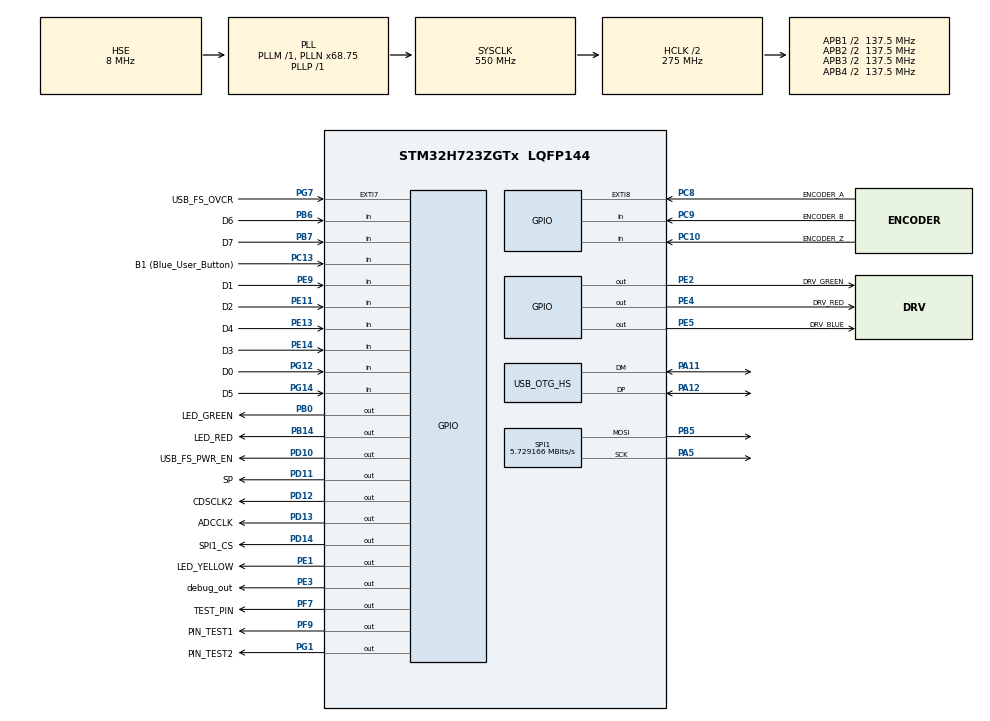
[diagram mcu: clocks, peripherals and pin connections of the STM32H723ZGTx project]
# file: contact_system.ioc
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Mcu.Family=STM32H7
Mcu.Name=STM32H723ZGTx
Mcu.Package=LQFP144
NVIC.EXTI9_5_IRQn=true\:0\:0\:false\:false\:true\:true\:true\:true
NVIC.OTG_HS_IRQn=true\:0\:0\:false\:false\:true\:false\:true\:true
NVIC.PriorityGroup=NVIC_PRIORITYGROUP_4
NVIC.TIM2_IRQn=true\:0\:0\:false\:false\:true\:true\:true\:true
NVIC.TIM3_IRQn=true\:0\:0\:false\:false\:true\:true\:true\:true
NVIC.TIM4_IRQn=true\:0\:0\:false\:false\:true\:true\:true\:true
PA1.GPIO_Label=RMII_REF_CLK
PA1.GPIO_Speed=GPIO_SPEED_FREQ_VERY_HIGH
PA1.Signal=ETH_REF_CLK
PA10.GPIO_Label=USB_FS_ID
PA10.Signal=USB_OTG_HS_ID
PA11.Mode=Device_Only_FS
PA11.Signal=USB_OTG_HS_DM
PA12.Mode=Device_Only_FS
PA12.Signal=USB_OTG_HS_DP
PA13(JTMS/SWDIO).GPIO_Label=SWDIO
PA13(JTMS/SWDIO).Signal=DEBUG_JTMS-SWDIO
PA14(JTCK/SWCLK).GPIO_Label=SWCLK
PA14(JTCK/SWCLK).Signal=DEBUG_JTCK-SWCLK
PA2.GPIO_Label=RMII_MDIO
PA2.GPIO_Speed=GPIO_SPEED_FREQ_VERY_HIGH
PA2.Signal=ETH_MDIO
PA5.Mode=TX_Only_Simplex_Unidirect_Master
PA5.Signal=SPI1_SCK
PA9.GPIO_Label=USB_FS_VBUS
PA9.Signal=USB_OTG_HS_VBUS
PB0.GPIO_Label=LED_GREEN
PB0.Signal=GPIO_Output
PB13.GPIO_Label=RMII_TXD1
PB13.GPIO_Speed=GPIO_SPEED_FREQ_VERY_HIGH
PB13.Signal=ETH_TXD1
PB14.GPIO_Label=LED_RED
PB14.Signal=GPIO_Output
PB3(JTDO/TRACESWO).GPIO_Label=SWO
PB3(JTDO/TRACESWO).Signal=DEBUG_JTDO-SWO
PB5.Mode=TX_Only_Simplex_Unidirect_Master
PB5.Signal=SPI1_MOSI
PB6.GPIO_Label=D6
PB6.GPIO_Mode=GPIO_MODE_INPUT
PB6.Signal=GPIO_Input
PB7.GPIO_Label=D7
PB7.Signal=GPIO_Input
PC1.GPIO_Label=RMII_MDC
PC1.Signal=ETH_MDC
PC10.GPIO_Label=ENCODER_Z
PC10.Signal=GPIO_Input
PC13.GPIO_Label=B1 (Blue_User_Button)
PC13.Signal=GPIO_Input
PC14-OSC32_IN.Signal=RCC_OSC32_IN
PC15-OSC32_OUT.Signal=RCC_OSC32_OUT
PC4.GPIO_Label=RMII_RXD0
PC4.GPIO_Speed=GPIO_SPEED_FREQ_VERY_HIGH
PC4.Signal=ETH_RXD0
PC5.GPIO_Label=RMII_RXD1
PC5.GPIO_Speed=GPIO_SPEED_FREQ_VERY_HIGH
PC5.Signal=ETH_RXD1
PC8.GPIO_Label=ENCODER_A
PC8.GPIO_ModeDefaultEXTI=GPIO_MODE_IT_RISING
PC8.GPIO_PuPd=GPIO_NOPULL
PC8.Signal=GPXTI8
PC9.GPIO_Label=ENCODER_B
PC9.Signal=GPIO_Input
PD10.GPIO_Label=USB_FS_PWR_EN
PD10.Signal=GPIO_Output
PD11.GPIO_Label=SP
PD11.Signal=GPIO_Output
PD12.GPIO_Label=CDSCLK2
PD12.GPIO_Speed=GPIO_SPEED_FREQ_LOW
PD12.Signal=GPIO_Output
PD13.GPIO_Label=ADCCLK
PD13.GPIO_ModeDefaultOutputPP=GPIO_MODE_OUTPUT_PP
PD13.GPIO_PuPd=GPIO_NOPULL
PD13.GPIO_Speed=GPIO_SPEED_FREQ_LOW
PD13.PinState=GPIO_PIN_RESET
PD13.Signal=GPIO_Output
PD14.GPIO_Label=SPI1_CS
PD14.GPIO_Speed=GPIO_SPEED_FREQ_LOW
PD14.PinState=GPIO_PIN_SET
PD14.Signal=GPIO_Output
PD8.GPIO_Label=STLK_VCP_RX
PD8.Signal=USART3_TX
PD9.GPIO_Label=STLK_VCP_TX
PD9.Signal=USART3_RX
PE1.GPIO_Label=LED_YELLOW
PE1.Signal=GPIO_Output
PE11.GPIO_Label=D2
PE11.Signal=GPIO_Input
PE13.GPIO_Label=D4
PE13.Signal=GPIO_Input
PE14.GPIO_Label=D3
PE14.Signal=GPIO_Input
PE2.GPIO_Label=DRV_GREEN
PE2.Signal=GPIO_Output
PE3.GPIO_Label=debug_out
PE3.Signal=GPIO_Output
PE4.GPIO_Label=DRV_RED
PE4.Signal=GPIO_Output
PE5.GPIO_Label=DRV_BLUE
PE5.Signal=GPIO_Output
PE9.GPIO_Label=D1
PE9.GPIO_Mode=GPIO_MODE_INPUT
PE9.GPIO_PuPd=GPIO_NOPULL
PE9.Signal=GPIO_Input
PF7.GPIO_Label=TEST_PIN
PF7.Signal=GPIO_Output
PF9.GPIO_Label=PIN_TEST1
PF9.Signal=GPIO_Output
PG1.GPIO_Label=PIN_TEST2
PG1.PinState=GPIO_PIN_SET
PG1.Signal=GPIO_Output
PG11.GPIO_Label=RMII_TX_EN
PG11.GPIO_Speed=GPIO_SPEED_FREQ_VERY_HIGH
PG11.Signal=ETH_TX_EN
PG12.GPIO_Label=D0
PG12.Signal=GPIO_Input
PG13.GPIO_Label=RMII_TXD0
PG13.GPIO_Speed=GPIO_SPEED_FREQ_VERY_HIGH
PG13.Signal=ETH_TXD0
PG14.GPIO_Label=D5
PG14.Signal=GPIO_Input
PG7.GPIO_Label=USB_FS_OVCR
PG7.Signal=GPXTI7
PH0-OSC_IN.Mode=HSE-External-Oscillator
PH0-OSC_IN.Signal=RCC_OSC_IN
PH1-OSC_OUT.Mode=HSE-External-Oscillator
PH1-OSC_OUT.Signal=RCC_OSC_OUT
ProjectManager.HeapSize=0x200
ProjectManager.StackSize=0x400
ProjectManager.TargetToolchain=STM32CubeIDE
RCC.ADCFreq_Value=76000000
RCC.APB1Freq_Value=137500000
RCC.APB2Freq_Value=137500000
RCC.APB3Freq_Value=137500000
RCC.APB4Freq_Value=137500000
RCC.CortexFreq_Value=550000000
RCC.D1PPRE=RCC_APB3_DIV2
RCC.D2PPRE1=RCC_APB1_DIV2
RCC.D2PPRE2=RCC_APB2_DIV2
RCC.D3PPRE=RCC_APB4_DIV2
RCC.DIVM1=1
RCC.DIVM2=1
RCC.DIVN1=68
RCC.DIVN2=19
RCC.DIVP1=1
RCC.DIVQ1=3
RCC.HCLKFreq_Value=275000000
RCC.HPRE=RCC_HCLK_DIV2
RCC.HSE_VALUE=8000000
RCC.PLL2FRACN=0
RCC.PLL3FRACN=0
RCC.PLLFRACN=6144
RCC.PLLSourceVirtual=RCC_PLLSOURCE_HSE
RCC.RCC_TIM_PRescaler_Selection=RCC_TIMPRES_DESACTIVATED
RCC.SYSCLKFreq_VALUE=550000000
RCC.SYSCLKSource=RCC_SYSCLKSOURCE_PLLCLK
RCC.USBCLockSelection=RCC_USBCLKSOURCE_HSI48
RCC.USBFreq_Value=48000000
SPI1.BaudRatePrescaler=SPI_BAUDRATEPRESCALER_32
SPI1.CalculateBaudRate=5.729166 MBits/s
SPI1.DataSize=SPI_DATASIZE_16BIT
SPI1.Direction=SPI_DIRECTION_2LINES_TXONLY
SPI1.Mode=SPI_MODE_MASTER
SPI1.NSSPMode=SPI_NSS_PULSE_ENABLE
SPI1.TIMode=SPI_TIMODE_DISABLE
SPI1.VirtualType=VM_MASTER
TIM2.AutoReloadPreload=TIM_AUTORELOAD_PRELOAD_DISABLE
TIM2.CounterMode=TIM_COUNTERMODE_UP
TIM2.Period=1
TIM2.Prescaler=1375
TIM3.Period=1
TIM3.Prescaler=274
TIM4.AutoReloadPreload=TIM_AUTORELOAD_PRELOAD_ENABLE
TIM4.Period=50000
TIM4.Prescaler=1375
USB_DEVICE.CLASS_NAME_HS=CDC
USB_DEVICE.VirtualMode=Cdc
USB_DEVICE.VirtualModeHS=Cdc_HS
USB_OTG_HS.VirtualMode-Device_Only_FS=Device_Only_FS
VP_TIM2_VS_ClockSourceINT.Mode=Internal
VP_TIM3_VS_ClockSourceINT.Mode=Internal
VP_TIM4_VS_ClockSourceINT.Mode=Internal
VP_USB_DEVICE_VS_USB_DEVICE_CDC_HS.Mode=CDC_HS
board=NUCLEO-H723ZG

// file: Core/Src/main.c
/* USER CODE BEGIN Header */
/**
 ******************************************************************************
 * @file           : main.c
 * @brief          : Main program body
 ******************************************************************************
 * @attention
 *
 * Copyright (c) 2022 STMicroelectronics.
 * All rights reserved.
 *
 * This software is licensed under terms that can be found in the LICENSE file
 * in the root directory of this software component.
 * If no LICENSE file comes with this software, it is provided AS-IS.
 *
 ******************************************************************************
 */

// Authors: Christian Valles, Armando Rivero, Sebastiano Marinelli
// Date of modification: 2/09/2022
// Version 1.5

/* USER CODE END Header */
#include "main.h"
#include "usb_device.h"

/* USER CODE BEGIN Includes */
#include <string.h>
#include <stdlib.h>
#include <stdio.h>
/* USER CODE END Includes */

/* USER CODE BEGIN PD */
int codeVer = 1;
int codeVerTest = 5;

int toggleLEDonBoard = 1;
int toggleLEDonBoard_G = 1;

#define timer_freq 100000 // in [Hz]
#define VCP_BUFF_SIZE 1000
#define VCP_BUFF_SIZE_RX 1000

#define EFFECTIVE_PIXELS 1728
#define TOTAL_PIXELS EFFECTIVE_PIXELS *3 //5184
#define INATIVE_PIXELS 38+1+1  // 38 are inactive 2 are found during measurements

// MACRO DEFINITIONS FOR CIS
#define MACRO_CIS_SET_CPCLK {GPIOD->BSRR = GPIO_PIN_12; }
#define MACRO_CIS_CLR_CPCLK {GPIOD->BSRR = (uint32_t)GPIO_PIN_12 << 16U; }

#define MACRO_CIS_SET_SP {GPIOD->BSRR = GPIO_PIN_11; }
#define MACRO_CIS_CLR_SP {GPIOD->BSRR = (uint32_t)GPIO_PIN_11 << 16U; }

// MACRO DEFINITIONS FOR AFE AD9826
#define MACRO_AD9826_SET_SCLK {GPIOD->BSRR = GPIO_PIN_14; }
#define MACRO_AD9826_CLR_SCLK {GPIOD->BSRR = (uint32_t)GPIO_PIN_14 << 16U; }

// ON BOARS LEDS
#define MACRO_LED_YELLOW_SET {GPIOE->BSRR = GPIO_PIN_1; }
#define MACRO_LED_YELLOW_CLR {GPIOE->BSRR = (uint32_t)GPIO_PIN_1 << 16U; }
#define MACRO_LED_GREEN_SET {GPIOB->BSRR = GPIO_PIN_0; }
#define MACRO_LED_GREEN_CLR {GPIOB->BSRR = (uint32_t)GPIO_PIN_0 << 16U; }
#define MACRO_LED_RED_SET {GPIOB->BSRR = GPIO_PIN_14; }
#define MACRO_LED_RED_CLR {GPIOB->BSRR = (uint32_t)GPIO_PIN_14 << 16U; }

#define MACRO_CIS_LED_RED_SET {GPIOE->BSRR = GPIO_PIN_4; }
#define MACRO_CIS_LED_RED_CLR {GPIOE->BSRR = (uint32_t)GPIO_PIN_4 << 16U; }
#define MACRO_CIS_LED_GREEN_SET {GPIOE->BSRR = GPIO_PIN_2; }
#define MACRO_CIS_LED_GREEN_CLR {GPIOE->BSRR = (uint32_t)GPIO_PIN_2 << 16U; }
#define MACRO_CIS_LED_BLUE_SET {GPIOE->BSRR = GPIO_PIN_5; }
#define MACRO_CIS_LED_BLUE_CLR {GPIOE->BSRR = (uint32_t)GPIO_PIN_5 << 16U; }

// AD9826 REGISTERS DEFINITION
#define R_CFG_ADDR       0x0000
#define R_MUXCFG_ADDR    0x1000
#define R_RPGA_ADDR      0x2000
#define R_GPGA_ADDR      0x3000
#define R_BPGA_ADDR      0x4000
#define R_ROFFSET_ADDR   0x5000
#define R_GOFFSET_ADDR   0x6000
#define R_BOFFSET_ADDR   0x7000

// register configuration (Addr: 0x0000)
#define R_CFG_INPUTRNG 0x0080
#define R_CFG_VREF     0x0040
#define R_CFG_3CHMODE  0x0020
#define R_CFG_CDS_ON   0x0010
#define R_CFG_CLAMP    0x0008
#define R_CFG_PWRDWN   0x0004
#define R_CFG_OUTMODE  0x0001

// MUX configuration (Addr: 0x0001)
#define R_MUXCFG_RGBBGR 0x008
#define R_MUXCFG_RED    0x004
#define R_MUXCFG_GREEN  0x002
#define R_MUXCFG_BLUE   0x001

//const unsigned int config_reg =  0b0000 0000 1110 1000;
const unsigned int reg_AD9826_config = R_CFG_ADDR | R_CFG_INPUTRNG | R_CFG_VREF | R_CFG_3CHMODE | R_CFG_CLAMP; //0b0000 0000 1110 1000

//const unsigned int MUX_config_reg = 0b0001 0000 1111 0000;
const unsigned int reg_AD9826_MUXconfig = R_MUXCFG_ADDR | R_MUXCFG_RGBBGR | R_MUXCFG_RED | R_MUXCFG_GREEN | R_MUXCFG_BLUE;

unsigned int reg_AD9826_redPGA   = R_RPGA_ADDR;
unsigned int reg_AD9826_greenPGA = R_GPGA_ADDR;
unsigned int reg_AD9826_bluePGA  = R_BPGA_ADDR;

unsigned int reg_AD9826_redOffset   = R_ROFFSET_ADDR;
unsigned int reg_AD9826_greenOffset = R_GOFFSET_ADDR;
unsigned int reg_AD9826_blueOffset  = R_BOFFSET_ADDR;

/* USER CODE END PD */

SPI_HandleTypeDef hspi1;

TIM_HandleTypeDef htim2;
TIM_HandleTypeDef htim3;
TIM_HandleTypeDef htim4;

/* USER CODE BEGIN PV */

extern uint8_t CDC_Transmit_HS(uint8_t* Buf, uint16_t Len);

/* USER CODE END PV */

void SystemClock_Config(void);
static void MX_GPIO_Init(void);
static void MX_SPI1_Init(void);
static void MX_TIM2_Init(void);
static void MX_TIM3_Init(void);
static void MX_TIM4_Init(void);

/* USER CODE BEGIN 0 */
// VCP related variables
uint8_t bufferVCP_Rx[VCP_BUFF_SIZE_RX];
char msgVCP[VCP_BUFF_SIZE];
int msgVCP_len = 0;
char* token;
const char *tokenSeparator = ".\n\r";
char strCMD_ver[] = "ver";
char strCMD_1[] = "SingleSample";
char strCMD_2[] = "cfg";
char strCMD_2_1[] = "exp";
char strCMD_3[] = "RPGA";
char strCMD_4[] = "GPGA";
char strCMD_5[] = "BPGA";
char strCMD_6[] = "ROFST";
char strCMD_7[] = "GOFST";
char strCMD_8[] = "BOFST";

char strCMD_9[] = "LEDRED";
char strCMD_10[] = "LEDGREEN";
char strCMD_11[] = "LEDBLUE";

char strCMD_12[] = "LR";
char strCMD_13[] = "LG";
char strCMD_14[] = "LB";

unsigned int ledExpDuration_R = 0;
unsigned int ledExpDuration_G = 0;
unsigned int ledExpDuration_B = 0;

char enableSampleTimerFlag = 0;
short int flag_en_CIS_LED = 0;

unsigned char send_data_main = 0;

unsigned int encoder_tick = 0, pixel_values[5184] = {0};
//unsigned int LEDR_time, LEDG_time, LEDB_time, exposureTime_phase, LEDR_phase, LEDG_phase, LEDB_phase, LEDR_residual, LEDG_residual, LEDB_residual;
unsigned char get_image = 0;

float encoder_resolution, encoder_distance;

uint32_t odr;

//-Counters for the clock generation
unsigned int CP_cnt = 0;
unsigned int Tim2_tick = 0;
unsigned int tick_SP = 0;
unsigned int Led_cnt = 0;
unsigned int Tim3_tick = 0;
unsigned int cnt_red = 0;
unsigned int cnt_green = 0;
unsigned int cnt_blue = 0;

// EXPOSURE TIME
int exposureVal = 120; // in microseconds
unsigned int tokenVal = 0;
int expDuration_us = 0 ;

int i = 0;
int alternateByte = 0;
int reg_High[TOTAL_PIXELS];
int reg_Low[TOTAL_PIXELS];
int reg_High_R[TOTAL_PIXELS];
int reg_Low_R[TOTAL_PIXELS];
int ADC_B0 = 0;
int ADC_B1 = 0;
int ADC_B2 = 0;
int ADC_B3 = 0;
int ADC_B4 = 0;
int ADC_B5 = 0;
int ADC_B6 = 0;
int ADC_B7 = 0;

//-Flags
//short int flag_ExpAndRead = 1;

/* USER CODE END 0 */

int main(void)
{
  /* USER CODE BEGIN 1 */

	expDuration_us = 6*(int)(exposureVal/60);

	uint8_t singlePx_value[TOTAL_PIXELS*2]; //*2 since the USB 8 bit at a time
	unsigned int organizeDataToSend = 0;
	int idxUSB;
	int idx;

	//  unsigned int exposure_time;
	//
	//  // AD9826 instructions - Serial communication (SPI)
	////  const unsigned int config_reg =  0b0000000011101000;
	//  //const unsigned int MUX_config_reg = 0b000100001110000; // original missing one bit
	////  const unsigned int MUX_config_reg = 0b0001000011110000;
	//
	//  unsigned int red_PGA_reg, green_PGA_reg, blue_PGA_reg, red_offset_reg, green_offset_reg, blue_offset_reg;
	//  unsigned int offset_red, offset_green, offset_blue;
	//  unsigned char gain_red, gain_green, gain_blue;
	//
	//

	//  /* Data settings */
	//  /***********************************************************************************************************/
	//
	//  encoder_resolution = 0.1;   // in [um]
	//  encoder_distance = 0.5; // in [um] -> (0.5 [um] = 5 tick)
	//
	//  // Timing - Integration time of the CIS
	//  // (1) Resolution of 10 [us] [it depends on the timer frequency (1/timer_freq)]
	//  // (2) Maximum error of 50 [us] [it depends on the time difference respect to the rising edge of the CDSCLK2 (CP) signal]
	//  exposure_time = 1000;   // in [us]
	//
	//  // Timing - LED duration
	//  // (1) Resolution of 10 [us] [it depends on the timer frequency (1/timer_freq)]
	//  LEDR_time = 0;  // in [us]
	//  LEDG_time = 0;  // in [us]
	//  LEDB_time = 0;  // in [us]
	//
	//  // Input gain - From 0 (gain = 1) to 63 (gain = 6)
	//  gain_red = 0;
	//  gain_green = 0;
	//  gain_blue = 0;
	//
	//  // Input offset - From 0 (0 [mV]) to 255 (+300 [mV]) or from 256 (0 [mV]) to 511 (-300 [mV])
	//  offset_red = 0;
	//  offset_green = 0;
	//  offset_blue = 0;
	//
	//  /***********************************************************************************************************/
	//
	//  // ADC gain
	//  red_PGA_reg = 0b0010000000000000 | gain_red;
	//  green_PGA_reg = 0b0011000000000000 | gain_green;
	//  blue_PGA_reg = 0b0100000000000000 | gain_blue;
	//
	//  // ADC offset
	//  red_offset_reg = 0b0101000000000000 | offset_red;
	//  green_offset_reg = 0b0110000000000000 | offset_green;
	//  blue_offset_reg = 0b0111000000000000 | offset_blue;
	//
	//  // Number of multiplexing phases
	//  exposureTime_phase = (unsigned int)(((exposure_time / 1000000.0) * timer_freq) / 6.0);
	//  LEDR_phase = (unsigned int)(((LEDR_time / 1000000.0) * timer_freq) / 6.0);
	//  LEDG_phase = (unsigned int)(((LEDG_time / 1000000.0) * timer_freq) / 6.0);
	//  LEDB_phase = (unsigned int)(((LEDB_time / 1000000.0) * timer_freq) / 6.0);
	//
	//  // Number of residual ticks
	//  LEDR_residual = (unsigned int)((LEDR_time / 1000000.0) * timer_freq) % 6 + 1;
	//  LEDG_residual = (unsigned int)((LEDG_time / 1000000.0) * timer_freq) % 6 + 1;
	//  LEDB_residual = (unsigned int)((LEDB_time / 1000000.0) * timer_freq) % 6 + 1;

  /* USER CODE END 1 */

  /* MCU Configuration--------------------------------------------------------*/

  /* Reset of all peripherals, Initializes the Flash interface and the Systick. */
  HAL_Init();

  /* Configure the system clock */
  SystemClock_Config();

  /* Initialize all configured peripherals */
  MX_GPIO_Init();
  MX_SPI1_Init();
  MX_TIM2_Init();
  MX_USB_DEVICE_Init();
  MX_TIM3_Init();
  MX_TIM4_Init();
  /* USER CODE BEGIN 2 */

	/* Configuring AD9826 through SPI*/
	MACRO_AD9826_CLR_SCLK
	HAL_SPI_Transmit(&hspi1,(uint8_t *)&reg_AD9826_config, 1, HAL_MAX_DELAY);
	MACRO_AD9826_SET_SCLK

	MACRO_AD9826_CLR_SCLK
	HAL_SPI_Transmit(&hspi1, (uint8_t *)&reg_AD9826_MUXconfig, 1, HAL_MAX_DELAY);
	MACRO_AD9826_SET_SCLK

	MACRO_AD9826_CLR_SCLK
	HAL_SPI_Transmit(&hspi1, (uint8_t *)&reg_AD9826_redPGA, 1, HAL_MAX_DELAY);
	MACRO_AD9826_SET_SCLK

	MACRO_AD9826_CLR_SCLK
	HAL_SPI_Transmit(&hspi1, (uint8_t *)&reg_AD9826_greenPGA, 1, HAL_MAX_DELAY);
	MACRO_AD9826_SET_SCLK

	MACRO_AD9826_CLR_SCLK
	HAL_SPI_Transmit(&hspi1, (uint8_t *)&reg_AD9826_bluePGA, 1, HAL_MAX_DELAY);
	MACRO_AD9826_SET_SCLK

	MACRO_AD9826_CLR_SCLK
	HAL_SPI_Transmit(&hspi1, (uint8_t *)&reg_AD9826_redOffset, 1, HAL_MAX_DELAY);
	MACRO_AD9826_SET_SCLK

	MACRO_AD9826_CLR_SCLK
	HAL_SPI_Transmit(&hspi1, (uint8_t *)&reg_AD9826_greenOffset, 1, HAL_MAX_DELAY);
	MACRO_AD9826_SET_SCLK

	MACRO_AD9826_CLR_SCLK
	HAL_SPI_Transmit(&hspi1, (uint8_t *)&reg_AD9826_blueOffset, 1, HAL_MAX_DELAY);
	MACRO_AD9826_SET_SCLK

	//HAL_TIM_Base_Start_IT(&htim2);    // Start timer 2
	HAL_TIM_Base_Start_IT(&htim4);	 	// Start timer 4
  /* USER CODE END 2 */

  /* Infinite loop */
  /* USER CODE BEGIN WHILE */

	while (1)
	{
		// tokenize command recevied in CDC_Receive_FS(...) (file: usbd_cdc_ig.c)
		token = strtok((char*)bufferVCP_Rx,tokenSeparator);
		if (token != NULL)
		{
			if(strcmp(token,strCMD_1) == 0)
			{
				memset (bufferVCP_Rx, '\0', 64);  // clear the VCP buffer always after receiving

				enableSampleTimerFlag = 1;
				HAL_TIM_Base_Start_IT(&htim2);    // Start timer 2
				HAL_TIM_Base_Start_IT(&htim3);	  // Start timer 3

				MACRO_LED_YELLOW_SET
				Led_cnt = 0;
				//        GPIOE->BSRR = GPIO_PIN_1;  // On-board Yellow LED Set to "1"
			}
			if(strcmp(token,strCMD_2) == 0)
			{
				token = strtok(NULL,tokenSeparator);
				if(strcmp(token,strCMD_2_1) == 0)
				{
					token = strtok(NULL,tokenSeparator);

					exposureVal = atoi(token);
					expDuration_us = 6*(int)(exposureVal/15);
				}
				memset (bufferVCP_Rx, '\0', 64);  // clear the VCP buffer always
			}

			if(strcmp(token,strCMD_3) == 0)
			{
				token = strtok(NULL,tokenSeparator);

				tokenVal = atoi(token);
				if(tokenVal <= 63)
				{
					reg_AD9826_redPGA &= 0xFFC0;  // clear only gain bits
					reg_AD9826_redPGA |= tokenVal;

					MACRO_AD9826_CLR_SCLK
					HAL_SPI_Transmit(&hspi1, (uint8_t *)&reg_AD9826_redPGA, 1, HAL_MAX_DELAY);
					MACRO_AD9826_SET_SCLK

					//          msgVCP_len = sprintf(msgVCP, "RPGA %d\n", tokenVal);
					//          CDC_Transmit_HS((uint8_t *)msgVCP, msgVCP_len);
				}
				memset (bufferVCP_Rx, '\0', 64);  // clear the VCP buffer always
			}

			if(strcmp(token,strCMD_4) == 0)
			{
				token = strtok(NULL,tokenSeparator);

				tokenVal = atoi(token);
				if(tokenVal <= 63)
				{
					reg_AD9826_greenPGA &= 0xFFC0;  // clear only gain bits
					reg_AD9826_greenPGA |= tokenVal;

					MACRO_AD9826_CLR_SCLK
					HAL_SPI_Transmit(&hspi1, (uint8_t *)&reg_AD9826_greenPGA, 1, HAL_MAX_DELAY);
					MACRO_AD9826_SET_SCLK
				}
				memset (bufferVCP_Rx, '\0', 64);  // clear the VCP buffer always
			}

			if(strcmp(token,strCMD_5) == 0)
			{
				token = strtok(NULL,tokenSeparator);

				tokenVal = atoi(token);
				if(tokenVal <= 63)
				{
					reg_AD9826_bluePGA &= 0xFFC0;  // clear only gain bits
					reg_AD9826_bluePGA |= tokenVal;

					MACRO_AD9826_CLR_SCLK
					HAL_SPI_Transmit(&hspi1, (uint8_t *)&reg_AD9826_bluePGA, 1, HAL_MAX_DELAY);
					MACRO_AD9826_SET_SCLK
				}
				memset (bufferVCP_Rx, '\0', 64);  // clear the VCP buffer always
			}

			if(strcmp(token,strCMD_6) == 0)
			{
				token = strtok(NULL,tokenSeparator);

				tokenVal = atoi(token);
				if(tokenVal <= 255)
				{
					reg_AD9826_redOffset &= 0xFF00;  // clear only gain bits
					reg_AD9826_redOffset |= tokenVal;

					MACRO_AD9826_CLR_SCLK
					HAL_SPI_Transmit(&hspi1, (uint8_t *)&reg_AD9826_redOffset, 1, HAL_MAX_DELAY);
					MACRO_AD9826_SET_SCLK
				}
				memset (bufferVCP_Rx, '\0', 64);  // clear the VCP buffer always
			}
			if(strcmp(token,strCMD_7) == 0)
			{
				token = strtok(NULL,tokenSeparator);

				tokenVal = atoi(token);
				if(tokenVal <= 255)
				{
					reg_AD9826_greenOffset &= 0xFF00;  // clear only gain bits
					reg_AD9826_greenOffset |= tokenVal;

					MACRO_AD9826_CLR_SCLK
					HAL_SPI_Transmit(&hspi1, (uint8_t *)&reg_AD9826_greenOffset, 1, HAL_MAX_DELAY);
					MACRO_AD9826_SET_SCLK
				}
				memset (bufferVCP_Rx, '\0', 64);  // clear the VCP buffer always
			}
			if(strcmp(token,strCMD_8) == 0)
			{
				token = strtok(NULL,tokenSeparator);

				tokenVal = atoi(token);
				if(tokenVal <= 255)
				{
					reg_AD9826_blueOffset &= 0xFF00;  // clear only gain bits
					reg_AD9826_blueOffset |= tokenVal;

					MACRO_AD9826_CLR_SCLK
					HAL_SPI_Transmit(&hspi1, (uint8_t *)&reg_AD9826_blueOffset, 1, HAL_MAX_DELAY);
					MACRO_AD9826_SET_SCLK
				}
				memset (bufferVCP_Rx, '\0', 64);  // clear the VCP buffer always
			}

			if(strcmp(token,strCMD_9) == 0)
			{
				token = strtok(NULL,tokenSeparator);

				tokenVal = atoi(token);
				if(tokenVal == 1)
				{
					MACRO_CIS_LED_RED_SET
				}
				else
				{
					MACRO_CIS_LED_RED_CLR
				}
				memset (bufferVCP_Rx, '\0', 64);  // clear the VCP buffer always
			}
			if(strcmp(token,strCMD_10) == 0)
			{
				token = strtok(NULL,tokenSeparator);

				tokenVal = atoi(token);
				if(tokenVal == 1)
				{
					MACRO_CIS_LED_GREEN_SET
				}
				else
				{
					MACRO_CIS_LED_GREEN_CLR
				}
				memset (bufferVCP_Rx, '\0', 64);  // clear the VCP buffer always
			}
			if(strcmp(token,strCMD_11) == 0)
			{
				token = strtok(NULL,tokenSeparator);

				tokenVal = atoi(token);
				if(tokenVal == 1)
				{
					MACRO_CIS_LED_BLUE_SET
				}
				else
				{
					MACRO_CIS_LED_BLUE_CLR
				}
				memset (bufferVCP_Rx, '\0', 64);  // clear the VCP buffer always
			}

			// Configure the LED RED duration
			if(strcmp(token,strCMD_12) == 0)
			{
				token = strtok(NULL,tokenSeparator);

				tokenVal = atoi(token);

				if(tokenVal > 0)
				{
					ledExpDuration_R = tokenVal;
					msgVCP_len = sprintf(msgVCP, "CIS LED_R %d\n", ledExpDuration_R);
					CDC_Transmit_HS((uint8_t *)msgVCP, msgVCP_len);
				}
				else
				{
					ledExpDuration_R = 0;
					msgVCP_len = sprintf(msgVCP, "-CIS LED_R %d\n", ledExpDuration_B);
					CDC_Transmit_HS((uint8_t *)msgVCP, msgVCP_len);
				}
				memset (bufferVCP_Rx, '\0', 64);  // clear the VCP buffer always
			}
			// Configure the LED GREEN duration
			if(strcmp(token,strCMD_13) == 0)
			{
				token = strtok(NULL,tokenSeparator);

				tokenVal = atoi(token);
				if(tokenVal > 0)
				{
					ledExpDuration_G = tokenVal;
					msgVCP_len = sprintf(msgVCP, "CIS LED_G %d\n", ledExpDuration_G);
					CDC_Transmit_HS((uint8_t *)msgVCP, msgVCP_len);
				}
				else
				{
					ledExpDuration_G = 0;
					msgVCP_len = sprintf(msgVCP, "-CIS LED_G %d\n", ledExpDuration_B);
					CDC_Transmit_HS((uint8_t *)msgVCP, msgVCP_len);
				}
				memset (bufferVCP_Rx, '\0', 64);  // clear the VCP buffer always
			}
			// Configure the LED BLUE duration
			if(strcmp(token,strCMD_14) == 0)
			{
				token = strtok(NULL,tokenSeparator);

				tokenVal = atoi(token);
				if(tokenVal > 0)
				{
					ledExpDuration_B = tokenVal;
					msgVCP_len = sprintf(msgVCP, "CIS LED_B %d\n", ledExpDuration_B);
					CDC_Transmit_HS((uint8_t *)msgVCP, msgVCP_len);
				}
				else
				{
					ledExpDuration_B = 0;
					msgVCP_len = sprintf(msgVCP, "-CIS LED_B %d\n", ledExpDuration_B);
					CDC_Transmit_HS((uint8_t *)msgVCP, msgVCP_len);
				}
				memset (bufferVCP_Rx, '\0', 64);  // clear the VCP buffer always
			}

			if(strcmp(token,strCMD_ver) == 0)
			{
				msgVCP_len = sprintf(msgVCP, "Ver: %d.%d\n", codeVer, codeVerTest);
				CDC_Transmit_HS((uint8_t *)msgVCP, msgVCP_len);
				memset (bufferVCP_Rx, '\0', 64);  // clear the VCP buffer always
			}

		}

		if(send_data_main)
		{
			MACRO_LED_YELLOW_CLR
			//      GPIOE->BSRR = (uint32_t)GPIO_PIN_1 << 16U; // On-board Yellow LED Set to "0"

			HAL_TIM_Base_Stop_IT(&htim2);
			organizeDataToSend = 0;
			idxUSB = 0;
			idx = 0;

			while(organizeDataToSend == 0)
			{
				//-CH1 (red)
				singlePx_value[idxUSB]   = reg_High[idx];
				singlePx_value[idxUSB+1] = reg_Low[idx];
				//-CH2 (Green)
				singlePx_value[idxUSB+2] = reg_High[idx+1];
				singlePx_value[idxUSB+3] = reg_Low[idx+1];
				//-CH3 (Blue)
				singlePx_value[idxUSB+4] = reg_High[idx+2];
				singlePx_value[idxUSB+5] = reg_Low[idx+2];

				idxUSB = idxUSB + 6;
				idx    = idx + 3;

				if(idx >= TOTAL_PIXELS)
				{
					organizeDataToSend = 1;
				}

			}
			//singlePx_value[TOTAL_PIXELS - 2] = (uint8_t) "\r";
			//singlePx_value[TOTAL_PIXELS - 1] = (uint8_t) "\n";
			__NOP();
			CDC_Transmit_HS(singlePx_value, TOTAL_PIXELS * 2);

			//HAL_Delay(300);
			//memset(singlePx_value,0,TOTAL_PIXELS * 2);

			//CDC_Transmit_HS((uint8_t *) "\r\n", 1);
			//HAL_TIM_Base_Start_IT(&htim2);
			/*HAL_TIM_Base_Stop_IT(&htim2);   // Stop interrupt of TIM2

			 */
			send_data_main = 0;
		}
    /* USER CODE END WHILE */

	}
}

void SystemClock_Config(void)
{
  RCC_OscInitTypeDef RCC_OscInitStruct = {0};
  RCC_ClkInitTypeDef RCC_ClkInitStruct = {0};

  /** Supply configuration update enable
  */
  HAL_PWREx_ConfigSupply(PWR_LDO_SUPPLY);

  /** Configure the main internal regulator output voltage
  */
  __HAL_PWR_VOLTAGESCALING_CONFIG(PWR_REGULATOR_VOLTAGE_SCALE0);

  while(!__HAL_PWR_GET_FLAG(PWR_FLAG_VOSRDY)) {}

  /** Initializes the RCC Oscillators according to the specified parameters
  * in the RCC_OscInitTypeDef structure.
  */
  RCC_OscInitStruct.OscillatorType = RCC_OSCILLATORTYPE_HSI48|RCC_OSCILLATORTYPE_HSE;
  RCC_OscInitStruct.HSEState = RCC_HSE_ON;
  RCC_OscInitStruct.HSI48State = RCC_HSI48_ON;
  RCC_OscInitStruct.PLL.PLLState = RCC_PLL_ON;
  RCC_OscInitStruct.PLL.PLLSource = RCC_PLLSOURCE_HSE;
  RCC_OscInitStruct.PLL.PLLM = 1;
  RCC_OscInitStruct.PLL.PLLN = 68;
  RCC_OscInitStruct.PLL.PLLP = 1;
  RCC_OscInitStruct.PLL.PLLQ = 3;
  RCC_OscInitStruct.PLL.PLLR = 2;
  RCC_OscInitStruct.PLL.PLLRGE = RCC_PLL1VCIRANGE_3;
  RCC_OscInitStruct.PLL.PLLVCOSEL = RCC_PLL1VCOWIDE;
  RCC_OscInitStruct.PLL.PLLFRACN = 6144;
  if (HAL_RCC_OscConfig(&RCC_OscInitStruct) != HAL_OK)
  {
    Error_Handler();
  }

  /** Initializes the CPU, AHB and APB buses clocks
  */
  RCC_ClkInitStruct.ClockType = RCC_CLOCKTYPE_HCLK|RCC_CLOCKTYPE_SYSCLK
                              |RCC_CLOCKTYPE_PCLK1|RCC_CLOCKTYPE_PCLK2
                              |RCC_CLOCKTYPE_D3PCLK1|RCC_CLOCKTYPE_D1PCLK1;
  RCC_ClkInitStruct.SYSCLKSource = RCC_SYSCLKSOURCE_PLLCLK;
  RCC_ClkInitStruct.SYSCLKDivider = RCC_SYSCLK_DIV1;
  RCC_ClkInitStruct.AHBCLKDivider = RCC_HCLK_DIV2;
  RCC_ClkInitStruct.APB3CLKDivider = RCC_APB3_DIV2;
  RCC_ClkInitStruct.APB1CLKDivider = RCC_APB1_DIV2;
  RCC_ClkInitStruct.APB2CLKDivider = RCC_APB2_DIV2;
  RCC_ClkInitStruct.APB4CLKDivider = RCC_APB4_DIV2;

  if (HAL_RCC_ClockConfig(&RCC_ClkInitStruct, FLASH_LATENCY_3) != HAL_OK)
  {
    Error_Handler();
  }
}

static void MX_SPI1_Init(void)
{

  /* SPI1 parameter configuration*/
  hspi1.Instance = SPI1;
  hspi1.Init.Mode = SPI_MODE_MASTER;
  hspi1.Init.Direction = SPI_DIRECTION_2LINES_TXONLY;
  hspi1.Init.DataSize = SPI_DATASIZE_16BIT;
  hspi1.Init.CLKPolarity = SPI_POLARITY_LOW;
  hspi1.Init.CLKPhase = SPI_PHASE_1EDGE;
  hspi1.Init.NSS = SPI_NSS_SOFT;
  hspi1.Init.BaudRatePrescaler = SPI_BAUDRATEPRESCALER_32;
  hspi1.Init.FirstBit = SPI_FIRSTBIT_MSB;
  hspi1.Init.TIMode = SPI_TIMODE_DISABLE;
  hspi1.Init.CRCCalculation = SPI_CRCCALCULATION_DISABLE;
  hspi1.Init.CRCPolynomial = 0x0;
  hspi1.Init.NSSPMode = SPI_NSS_PULSE_ENABLE;
  hspi1.Init.NSSPolarity = SPI_NSS_POLARITY_LOW;
  hspi1.Init.FifoThreshold = SPI_FIFO_THRESHOLD_01DATA;
  hspi1.Init.TxCRCInitializationPattern = SPI_CRC_INITIALIZATION_ALL_ZERO_PATTERN;
  hspi1.Init.RxCRCInitializationPattern = SPI_CRC_INITIALIZATION_ALL_ZERO_PATTERN;
  hspi1.Init.MasterSSIdleness = SPI_MASTER_SS_IDLENESS_00CYCLE;
  hspi1.Init.MasterInterDataIdleness = SPI_MASTER_INTERDATA_IDLENESS_00CYCLE;
  hspi1.Init.MasterReceiverAutoSusp = SPI_MASTER_RX_AUTOSUSP_DISABLE;
  hspi1.Init.MasterKeepIOState = SPI_MASTER_KEEP_IO_STATE_DISABLE;
  hspi1.Init.IOSwap = SPI_IO_SWAP_DISABLE;
  if (HAL_SPI_Init(&hspi1) != HAL_OK)
  {
    Error_Handler();
  }

}

static void MX_TIM2_Init(void)
{

  TIM_ClockConfigTypeDef sClockSourceConfig = {0};
  TIM_MasterConfigTypeDef sMasterConfig = {0};

  htim2.Instance = TIM2;
  htim2.Init.Prescaler = 1375;
  htim2.Init.CounterMode = TIM_COUNTERMODE_UP;
  htim2.Init.Period = 1;
  htim2.Init.ClockDivision = TIM_CLOCKDIVISION_DIV1;
  htim2.Init.AutoReloadPreload = TIM_AUTORELOAD_PRELOAD_DISABLE;
  if (HAL_TIM_Base_Init(&htim2) != HAL_OK)
  {
    Error_Handler();
  }
  sClockSourceConfig.ClockSource = TIM_CLOCKSOURCE_INTERNAL;
  if (HAL_TIM_ConfigClockSource(&htim2, &sClockSourceConfig) != HAL_OK)
  {
    Error_Handler();
  }
  sMasterConfig.MasterOutputTrigger = TIM_TRGO_RESET;
  sMasterConfig.MasterSlaveMode = TIM_MASTERSLAVEMODE_DISABLE;
  if (HAL_TIMEx_MasterConfigSynchronization(&htim2, &sMasterConfig) != HAL_OK)
  {
    Error_Handler();
  }

}

static void MX_TIM3_Init(void)
{

  TIM_ClockConfigTypeDef sClockSourceConfig = {0};
  TIM_MasterConfigTypeDef sMasterConfig = {0};

  htim3.Instance = TIM3;
  htim3.Init.Prescaler = 274;
  htim3.Init.CounterMode = TIM_COUNTERMODE_UP;
  htim3.Init.Period = 1;
  htim3.Init.ClockDivision = TIM_CLOCKDIVISION_DIV1;
  htim3.Init.AutoReloadPreload = TIM_AUTORELOAD_PRELOAD_DISABLE;
  if (HAL_TIM_Base_Init(&htim3) != HAL_OK)
  {
    Error_Handler();
  }
  sClockSourceConfig.ClockSource = TIM_CLOCKSOURCE_INTERNAL;
  if (HAL_TIM_ConfigClockSource(&htim3, &sClockSourceConfig) != HAL_OK)
  {
    Error_Handler();
  }
  sMasterConfig.MasterOutputTrigger = TIM_TRGO_RESET;
  sMasterConfig.MasterSlaveMode = TIM_MASTERSLAVEMODE_DISABLE;
  if (HAL_TIMEx_MasterConfigSynchronization(&htim3, &sMasterConfig) != HAL_OK)
  {
    Error_Handler();
  }

}

static void MX_TIM4_Init(void)
{

  TIM_ClockConfigTypeDef sClockSourceConfig = {0};
  TIM_MasterConfigTypeDef sMasterConfig = {0};

  htim4.Instance = TIM4;
  htim4.Init.Prescaler = 1375;
  htim4.Init.CounterMode = TIM_COUNTERMODE_UP;
  htim4.Init.Period = 50000;
  htim4.Init.ClockDivision = TIM_CLOCKDIVISION_DIV1;
  htim4.Init.AutoReloadPreload = TIM_AUTORELOAD_PRELOAD_ENABLE;
  if (HAL_TIM_Base_Init(&htim4) != HAL_OK)
  {
    Error_Handler();
  }
  sClockSourceConfig.ClockSource = TIM_CLOCKSOURCE_INTERNAL;
  if (HAL_TIM_ConfigClockSource(&htim4, &sClockSourceConfig) != HAL_OK)
  {
    Error_Handler();
  }
  sMasterConfig.MasterOutputTrigger = TIM_TRGO_RESET;
  sMasterConfig.MasterSlaveMode = TIM_MASTERSLAVEMODE_DISABLE;
  if (HAL_TIMEx_MasterConfigSynchronization(&htim4, &sMasterConfig) != HAL_OK)
  {
    Error_Handler();
  }

}

static void MX_GPIO_Init(void)
{
  GPIO_InitTypeDef GPIO_InitStruct = {0};

  /* GPIO Ports Clock Enable */
  __HAL_RCC_GPIOE_CLK_ENABLE();
  __HAL_RCC_GPIOC_CLK_ENABLE();
  __HAL_RCC_GPIOF_CLK_ENABLE();
  __HAL_RCC_GPIOH_CLK_ENABLE();
  __HAL_RCC_GPIOA_CLK_ENABLE();
  __HAL_RCC_GPIOB_CLK_ENABLE();
  __HAL_RCC_GPIOG_CLK_ENABLE();
  __HAL_RCC_GPIOD_CLK_ENABLE();

  /*Configure GPIO pin Output Level */
  HAL_GPIO_WritePin(GPIOE, DRV_GREEN_Pin|debug_out_Pin|DRV_RED_Pin|DRV_BLUE_Pin
                          |LED_YELLOW_Pin, GPIO_PIN_RESET);

  /*Configure GPIO pin Output Level */
  HAL_GPIO_WritePin(GPIOF, TEST_PIN_Pin|PIN_TEST1_Pin, GPIO_PIN_RESET);

  /*Configure GPIO pin Output Level */
  HAL_GPIO_WritePin(GPIOB, LED_GREEN_Pin|LED_RED_Pin, GPIO_PIN_RESET);

  /*Configure GPIO pin Output Level */
  HAL_GPIO_WritePin(PIN_TEST2_GPIO_Port, PIN_TEST2_Pin, GPIO_PIN_SET);

  /*Configure GPIO pin Output Level */
  HAL_GPIO_WritePin(GPIOD, USB_FS_PWR_EN_Pin|SP_Pin|CDSCLK2_Pin|ADCCLK_Pin, GPIO_PIN_RESET);

  /*Configure GPIO pin Output Level */
  HAL_GPIO_WritePin(SPI1_CS_GPIO_Port, SPI1_CS_Pin, GPIO_PIN_SET);

  /*Configure GPIO pins : DRV_GREEN_Pin debug_out_Pin DRV_RED_Pin DRV_BLUE_Pin
                           LED_YELLOW_Pin */
  GPIO_InitStruct.Pin = DRV_GREEN_Pin|debug_out_Pin|DRV_RED_Pin|DRV_BLUE_Pin
                          |LED_YELLOW_Pin;
  GPIO_InitStruct.Mode = GPIO_MODE_OUTPUT_PP;
  GPIO_InitStruct.Pull = GPIO_NOPULL;
  GPIO_InitStruct.Speed = GPIO_SPEED_FREQ_LOW;
  HAL_GPIO_Init(GPIOE, &GPIO_InitStruct);

  /*Configure GPIO pins : PE6 PE7 PE8 PE10
                           PE12 PE15 PE0 */
  GPIO_InitStruct.Pin = GPIO_PIN_6|GPIO_PIN_7|GPIO_PIN_8|GPIO_PIN_10
                          |GPIO_PIN_12|GPIO_PIN_15|GPIO_PIN_0;
  GPIO_InitStruct.Mode = GPIO_MODE_ANALOG;
  GPIO_InitStruct.Pull = GPIO_NOPULL;
  HAL_GPIO_Init(GPIOE, &GPIO_InitStruct);

  /*Configure GPIO pins : B1_Pin ENCODER_B_Pin ENCODER_Z_Pin */
  GPIO_InitStruct.Pin = B1_Pin|ENCODER_B_Pin|ENCODER_Z_Pin;
  GPIO_InitStruct.Mode = GPIO_MODE_INPUT;
  GPIO_InitStruct.Pull = GPIO_NOPULL;
  HAL_GPIO_Init(GPIOC, &GPIO_InitStruct);

  /*Configure GPIO pins : PF0 PF1 PF2 PF3
                           PF4 PF5 PF6 PF8
                           PF10 PF11 PF12 PF13
                           PF14 PF15 */
  GPIO_InitStruct.Pin = GPIO_PIN_0|GPIO_PIN_1|GPIO_PIN_2|GPIO_PIN_3
                          |GPIO_PIN_4|GPIO_PIN_5|GPIO_PIN_6|GPIO_PIN_8
                          |GPIO_PIN_10|GPIO_PIN_11|GPIO_PIN_12|GPIO_PIN_13
                          |GPIO_PIN_14|GPIO_PIN_15;
  GPIO_InitStruct.Mode = GPIO_MODE_ANALOG;
  GPIO_InitStruct.Pull = GPIO_NOPULL;
  HAL_GPIO_Init(GPIOF, &GPIO_InitStruct);

  /*Configure GPIO pins : TEST_PIN_Pin PIN_TEST1_Pin */
  GPIO_InitStruct.Pin = TEST_PIN_Pin|PIN_TEST1_Pin;
  GPIO_InitStruct.Mode = GPIO_MODE_OUTPUT_PP;
  GPIO_InitStruct.Pull = GPIO_NOPULL;
  GPIO_InitStruct.Speed = GPIO_SPEED_FREQ_LOW;
  HAL_GPIO_Init(GPIOF, &GPIO_InitStruct);

  /*Configure GPIO pins : PC0 PC2 PC3 PC6
                           PC7 PC11 PC12 */
  GPIO_InitStruct.Pin = GPIO_PIN_0|GPIO_PIN_2|GPIO_PIN_3|GPIO_PIN_6
                          |GPIO_PIN_7|GPIO_PIN_11|GPIO_PIN_12;
  GPIO_InitStruct.Mode = GPIO_MODE_ANALOG;
  GPIO_InitStruct.Pull = GPIO_NOPULL;
  HAL_GPIO_Init(GPIOC, &GPIO_InitStruct);

  /*Configure GPIO pin : RMII_MDC_Pin */
  GPIO_InitStruct.Pin = RMII_MDC_Pin;
  GPIO_InitStruct.Mode = GPIO_MODE_AF_PP;
  GPIO_InitStruct.Pull = GPIO_NOPULL;
  GPIO_InitStruct.Speed = GPIO_SPEED_FREQ_LOW;
  GPIO_InitStruct.Alternate = GPIO_AF11_ETH;
  HAL_GPIO_Init(RMII_MDC_GPIO_Port, &GPIO_InitStruct);

  /*Configure GPIO pins : PA0 PA3 PA4 PA6
                           PA7 PA8 PA15 */
  GPIO_InitStruct.Pin = GPIO_PIN_0|GPIO_PIN_3|GPIO_PIN_4|GPIO_PIN_6
                          |GPIO_PIN_7|GPIO_PIN_8|GPIO_PIN_15;
  GPIO_InitStruct.Mode = GPIO_MODE_ANALOG;
  GPIO_InitStruct.Pull = GPIO_NOPULL;
  HAL_GPIO_Init(GPIOA, &GPIO_InitStruct);

  /*Configure GPIO pins : RMII_REF_CLK_Pin RMII_MDIO_Pin */
  GPIO_InitStruct.Pin = RMII_REF_CLK_Pin|RMII_MDIO_Pin;
  GPIO_InitStruct.Mode = GPIO_MODE_AF_PP;
  GPIO_InitStruct.Pull = GPIO_NOPULL;
  GPIO_InitStruct.Speed = GPIO_SPEED_FREQ_VERY_HIGH;
  GPIO_InitStruct.Alternate = GPIO_AF11_ETH;
  HAL_GPIO_Init(GPIOA, &GPIO_InitStruct);

  /*Configure GPIO pins : RMII_RXD0_Pin RMII_RXD1_Pin */
  GPIO_InitStruct.Pin = RMII_RXD0_Pin|RMII_RXD1_Pin;
  GPIO_InitStruct.Mode = GPIO_MODE_AF_PP;
  GPIO_InitStruct.Pull = GPIO_NOPULL;
  GPIO_InitStruct.Speed = GPIO_SPEED_FREQ_VERY_HIGH;
  GPIO_InitStruct.Alternate = GPIO_AF11_ETH;
  HAL_GPIO_Init(GPIOC, &GPIO_InitStruct);

  /*Configure GPIO pins : LED_GREEN_Pin LED_RED_Pin */
  GPIO_InitStruct.Pin = LED_GREEN_Pin|LED_RED_Pin;
  GPIO_InitStruct.Mode = GPIO_MODE_OUTPUT_PP;
  GPIO_InitStruct.Pull = GPIO_NOPULL;
  GPIO_InitStruct.Speed = GPIO_SPEED_FREQ_LOW;
  HAL_GPIO_Init(GPIOB, &GPIO_InitStruct);

  /*Configure GPIO pins : PB1 PB2 PB10 PB11
                           PB12 PB15 PB4 PB8
                           PB9 */
  GPIO_InitStruct.Pin = GPIO_PIN_1|GPIO_PIN_2|GPIO_PIN_10|GPIO_PIN_11
                          |GPIO_PIN_12|GPIO_PIN_15|GPIO_PIN_4|GPIO_PIN_8
                          |GPIO_PIN_9;
  GPIO_InitStruct.Mode = GPIO_MODE_ANALOG;
  GPIO_InitStruct.Pull = GPIO_NOPULL;
  HAL_GPIO_Init(GPIOB, &GPIO_InitStruct);

  /*Configure GPIO pins : PG0 PG2 PG3 PG4
                           PG5 PG6 PG8 PG9
                           PG10 PG15 */
  GPIO_InitStruct.Pin = GPIO_PIN_0|GPIO_PIN_2|GPIO_PIN_3|GPIO_PIN_4
                          |GPIO_PIN_5|GPIO_PIN_6|GPIO_PIN_8|GPIO_PIN_9
                          |GPIO_PIN_10|GPIO_PIN_15;
  GPIO_InitStruct.Mode = GPIO_MODE_ANALOG;
  GPIO_InitStruct.Pull = GPIO_NOPULL;
  HAL_GPIO_Init(GPIOG, &GPIO_InitStruct);

  /*Configure GPIO pin : PIN_TEST2_Pin */
  GPIO_InitStruct.Pin = PIN_TEST2_Pin;
  GPIO_InitStruct.Mode = GPIO_MODE_OUTPUT_PP;
  GPIO_InitStruct.Pull = GPIO_NOPULL;
  GPIO_InitStruct.Speed = GPIO_SPEED_FREQ_LOW;
  HAL_GPIO_Init(PIN_TEST2_GPIO_Port, &GPIO_InitStruct);

  /*Configure GPIO pins : D1_Pin D2_Pin D4_Pin D3_Pin */
  GPIO_InitStruct.Pin = D1_Pin|D2_Pin|D4_Pin|D3_Pin;
  GPIO_InitStruct.Mode = GPIO_MODE_INPUT;
  GPIO_InitStruct.Pull = GPIO_NOPULL;
  HAL_GPIO_Init(GPIOE, &GPIO_InitStruct);

  /*Configure GPIO pin : RMII_TXD1_Pin */
  GPIO_InitStruct.Pin = RMII_TXD1_Pin;
  GPIO_InitStruct.Mode = GPIO_MODE_AF_PP;
  GPIO_InitStruct.Pull = GPIO_NOPULL;
  GPIO_InitStruct.Speed = GPIO_SPEED_FREQ_VERY_HIGH;
  GPIO_InitStruct.Alternate = GPIO_AF11_ETH;
  HAL_GPIO_Init(RMII_TXD1_GPIO_Port, &GPIO_InitStruct);

  /*Configure GPIO pins : STLK_VCP_RX_Pin STLK_VCP_TX_Pin */
  GPIO_InitStruct.Pin = STLK_VCP_RX_Pin|STLK_VCP_TX_Pin;
  GPIO_InitStruct.Mode = GPIO_MODE_AF_PP;
  GPIO_InitStruct.Pull = GPIO_NOPULL;
  GPIO_InitStruct.Speed = GPIO_SPEED_FREQ_LOW;
  GPIO_InitStruct.Alternate = GPIO_AF7_USART3;
  HAL_GPIO_Init(GPIOD, &GPIO_InitStruct);

  /*Configure GPIO pins : USB_FS_PWR_EN_Pin SP_Pin CDSCLK2_Pin ADCCLK_Pin
                           SPI1_CS_Pin */
  GPIO_InitStruct.Pin = USB_FS_PWR_EN_Pin|SP_Pin|CDSCLK2_Pin|ADCCLK_Pin
                          |SPI1_CS_Pin;
  GPIO_InitStruct.Mode = GPIO_MODE_OUTPUT_PP;
  GPIO_InitStruct.Pull = GPIO_NOPULL;
  GPIO_InitStruct.Speed = GPIO_SPEED_FREQ_LOW;
  HAL_GPIO_Init(GPIOD, &GPIO_InitStruct);

  /*Configure GPIO pins : PD15 PD0 PD1 PD2
                           PD3 PD4 PD5 PD6
                           PD7 */
  GPIO_InitStruct.Pin = GPIO_PIN_15|GPIO_PIN_0|GPIO_PIN_1|GPIO_PIN_2
                          |GPIO_PIN_3|GPIO_PIN_4|GPIO_PIN_5|GPIO_PIN_6
                          |GPIO_PIN_7;
  GPIO_InitStruct.Mode = GPIO_MODE_ANALOG;
  GPIO_InitStruct.Pull = GPIO_NOPULL;
  HAL_GPIO_Init(GPIOD, &GPIO_InitStruct);

  /*Configure GPIO pin : USB_FS_OVCR_Pin */
  GPIO_InitStruct.Pin = USB_FS_OVCR_Pin;
  GPIO_InitStruct.Mode = GPIO_MODE_IT_RISING;
  GPIO_InitStruct.Pull = GPIO_NOPULL;
  HAL_GPIO_Init(USB_FS_OVCR_GPIO_Port, &GPIO_InitStruct);

  /*Configure GPIO pin : ENCODER_A_Pin */
  GPIO_InitStruct.Pin = ENCODER_A_Pin;
  GPIO_InitStruct.Mode = GPIO_MODE_IT_RISING;
  GPIO_InitStruct.Pull = GPIO_NOPULL;
  HAL_GPIO_Init(ENCODER_A_GPIO_Port, &GPIO_InitStruct);

  /*Configure GPIO pins : RMII_TX_EN_Pin RMII_TXD0_Pin */
  GPIO_InitStruct.Pin = RMII_TX_EN_Pin|RMII_TXD0_Pin;
  GPIO_InitStruct.Mode = GPIO_MODE_AF_PP;
  GPIO_InitStruct.Pull = GPIO_NOPULL;
  GPIO_InitStruct.Speed = GPIO_SPEED_FREQ_VERY_HIGH;
  GPIO_InitStruct.Alternate = GPIO_AF11_ETH;
  HAL_GPIO_Init(GPIOG, &GPIO_InitStruct);

  /*Configure GPIO pins : D0_Pin D5_Pin */
  GPIO_InitStruct.Pin = D0_Pin|D5_Pin;
  GPIO_InitStruct.Mode = GPIO_MODE_INPUT;
  GPIO_InitStruct.Pull = GPIO_NOPULL;
  HAL_GPIO_Init(GPIOG, &GPIO_InitStruct);

  /*Configure GPIO pins : D6_Pin D7_Pin */
  GPIO_InitStruct.Pin = D6_Pin|D7_Pin;
  GPIO_InitStruct.Mode = GPIO_MODE_INPUT;
  GPIO_InitStruct.Pull = GPIO_NOPULL;
  HAL_GPIO_Init(GPIOB, &GPIO_InitStruct);

  /* EXTI interrupt init*/
  HAL_NVIC_SetPriority(EXTI9_5_IRQn, 0, 0);
  HAL_NVIC_EnableIRQ(EXTI9_5_IRQn);

}

/* USER CODE BEGIN 4 */

void HAL_GPIO_EXTI_Callback(uint16_t GPIO_Pin)
{
	if(GPIO_Pin == GPIO_PIN_8) // If The INT Source Is EXTI Line8 (pin PC8)
	{
		encoder_tick++;
		if(encoder_tick == (unsigned int)(encoder_distance/encoder_resolution))
		{
			encoder_tick= 0;
			get_image = 1;

			// Test pin (PF7)
			// odr = GPIOF->ODR;
			// GPIOF->BSRR = ((odr & GPIO_PIN_7) << 16U) | (~odr & GPIO_PIN_7);
		}
	}
}

//-Tick every 10[uS]
void HAL_TIM_PeriodElapsedCallback(TIM_HandleTypeDef *htim)
{
	if(htim == &htim2)
	{
		if(enableSampleTimerFlag==1)
		{
			//---ADC_Clk: To generate a 50KHz frequency (ADCCLK - pin PD13)
			odr = GPIOD->ODR;
			GPIOD->BSRR = ((odr & GPIO_PIN_13) << 16U) | (~odr & GPIO_PIN_13);

			//    odr = GPIOD->ODR;
			//    GPIOD->BSRR = ((odr & GPIO_PIN_12) << 16U) | (~odr & GPIO_PIN_12);

			//---Toggle CDSCLK2 and CP_Clk: To generate the frequency for the ADC Sampling  and the readout (CDSCLK2 and CP_Clk - pin PD12)
			if(Tim2_tick == 0)
			{
				MACRO_CIS_CLR_CPCLK;
				//GPIOD->BSRR = (uint32_t)GPIO_PIN_12 << 16U; // CP_Clk set to 0
			}
			if (Led_cnt == 4 && flag_en_CIS_LED == 0)
			{
				flag_en_CIS_LED = 1;
				// store LED duration in counter for timer
				cnt_red = ledExpDuration_R;
				cnt_green = ledExpDuration_G;
				cnt_blue = ledExpDuration_B;
			}
			// The CP clock is always 6 ticks (4 at low level, 2 at high level) non symetrical clock
			// since this signal is used for the AFE as CDSCLK2
			if (Tim2_tick == 5)
			{
				MACRO_CIS_SET_CPCLK;
				//GPIOD->BSRR = GPIO_PIN_12;                  // CP_Clk set to 1
				Tim2_tick = 0;
				CP_cnt++;
			}
			else
			{
				Tim2_tick++;
			}
			Led_cnt++;

			//---CIS SP signal to set exposure duration (SP_CIS - pin PD11)
			// sensor starts acquiring immediately at the tick=2 of the timer counter
			// The Integration time is defined by the 'expDuration_us' variable
			// there is no reading of the data from the sensor between these two pulses
			if(tick_SP == 2 || tick_SP == (expDuration_us+2) )
			{
				MACRO_CIS_SET_SP;
				//GPIOD->BSRR = GPIO_PIN_11;              // SP_CIS Set to 1
			}
			else if(tick_SP == 7 || tick_SP == (expDuration_us+7) )
			{
				MACRO_CIS_CLR_SP;
				//GPIOD->BSRR = (uint32_t)GPIO_PIN_11 << 16U; // SP_CIS Set to 0
			}

			if(tick_SP == (expDuration_us+2) )
			{
				CP_cnt=0;
			}

			tick_SP++;

			// read all ports
			if ( (CP_cnt > INATIVE_PIXELS) && (CP_cnt <= INATIVE_PIXELS + EFFECTIVE_PIXELS + 100) ) // 100 is an exageration value of
				// oversampling never reach due to next loop control
			{
				// D0: pin PG12
				ADC_B0 = (GPIOG->IDR >> 12) & 0x01;
				// D1: pin PE9
				ADC_B1 = (GPIOE->IDR >> 9) & 0x01;
				// D2: pin PE11
				ADC_B2 = (GPIOE->IDR >> 11) & 0x01;
				// D3: pin PE14
				ADC_B3 = (GPIOE->IDR >> 14) & 0x01;
				// D4: pin PE13
				ADC_B4 = (GPIOE->IDR >> 13) & 0x01;
				// D5: pin PG14
				ADC_B5 = (GPIOG->IDR >> 14) & 0x01;
				// D6: pin PB6
				ADC_B6 = (GPIOB->IDR >> 6) & 0x01;
				// D7: pin PB7
				ADC_B7 = (GPIOB->IDR >> 7) & 0x01;

				if(alternateByte == 1)
				{
					reg_Low[i] = ADC_B0 | (ADC_B1<<1) | (ADC_B2<<2) | (ADC_B3<<3) | (ADC_B4<<4) | (ADC_B5<<5) | (ADC_B6<<6)| (ADC_B7<<7);
					i++;
					alternateByte = 0;
				}
				else
				{
					reg_High[i] = ADC_B0 | (ADC_B1<<1) | (ADC_B2<<2) | (ADC_B3<<3) | (ADC_B4<<4) | (ADC_B5<<5) | (ADC_B6<<6)| (ADC_B7<<7);
					alternateByte = 1;
				}
			}

			if (i == TOTAL_PIXELS)//CP_cnt == (INATIVE_PIXELS + EFFECTIVE_PIXELS+1+1) ) // one oversample cycle added
			{
				HAL_TIM_Base_Stop_IT(&htim2);

				MACRO_CIS_CLR_CPCLK;
				//GPIOD->BSRR = (uint32_t)GPIO_PIN_12 << 16U; // CP_Clk set to 0
				send_data_main = 1;
				enableSampleTimerFlag = 0;
				CP_cnt = 0;
				tick_SP = 0;
				i = 0;
			}
		}
	}
	//Tik every 1uS (led exposure is in uS)
	if(htim == &htim3)
	{
	  if(flag_en_CIS_LED)
	  {
	    //			if (toggleLEDonBoard_G == 1)
	    //			{
	    //					MACRO_LED_GREEN_SET
	    //					toggleLEDonBoard_G = 0;
	    //			}
	    //			else
	    //			{
	    //				MACRO_LED_GREEN_CLR
	    //				toggleLEDonBoard_G = 1;
	    //			}

	    if(cnt_red==0  && cnt_green==0 && cnt_blue==0 )
	    {
	      flag_en_CIS_LED = 0;
	      HAL_TIM_Base_Stop_IT(&htim3); // stop timer 3
	    }

	    if(cnt_red != 0)
	    {
	      MACRO_CIS_LED_RED_SET
	      cnt_red--;
	    }
	    else
	    {
	      MACRO_LED_RED_SET
	      MACRO_CIS_LED_RED_CLR
	    }

	    if(cnt_green != 0)
	    {
	      MACRO_CIS_LED_GREEN_SET
	      cnt_green--;
	    }
	    else
	    {
	      MACRO_CIS_LED_GREEN_CLR
	    }

	    if(cnt_blue != 0)
	    {
	      MACRO_CIS_LED_BLUE_SET
	      cnt_blue--;
	    }
	    else
	    {
	      MACRO_CIS_LED_BLUE_CLR
	    }

	    odr = GPIOE->ODR;
	    GPIOE->BSRR = ((odr & GPIO_PIN_3) << 16U) | (~odr & GPIO_PIN_3);
	  }
	}

	// Blink led as Keep Alive signal
	if(htim == &htim4)
	{
		if (toggleLEDonBoard == 1)
		{
				MACRO_LED_RED_CLR
				toggleLEDonBoard = 0;
		}
		else
		{
			MACRO_LED_RED_CLR
			toggleLEDonBoard = 1;
		}

	}

	//      // Toggle ADC_CDS_Clk2 (CDSCLK2 and CP_Clk - pin PD12)
	//      odr = GPIOD->ODR;
	//      GPIOD->BSRR = ((odr & GPIO_PIN_12) << 16U) | (~odr & GPIO_PIN_12);

	//---Toggle CP_Clk: To generate the readout frequency
	/*if(Tim2_tick == 0 || Tim2_tick == 3)
    {
        odr = GPIOD->ODR;
        GPIOD->BSRR = ((odr & GPIO_PIN_12) << 16U) | (~odr & GPIO_PIN_12);
    }
	 */
}

/* USER CODE END 4 */

void Error_Handler(void)
{
	__disable_irq();
	while (1)
	{
	}
}
